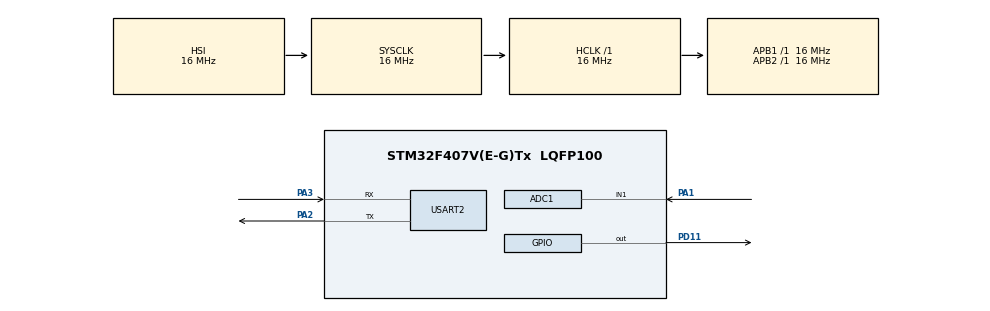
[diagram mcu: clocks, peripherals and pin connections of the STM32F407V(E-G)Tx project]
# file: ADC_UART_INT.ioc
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ADC1.Channel-0\#ChannelRegularConversion=ADC_CHANNEL_1
ADC1.ClockPrescaler=ADC_CLOCK_SYNC_PCLK_DIV2
ADC1.ContinuousConvMode=ENABLE
ADC1.DMAContinuousRequests=DISABLE
ADC1.DataAlign=ADC_DATAALIGN_RIGHT
ADC1.DiscontinuousConvMode=DISABLE
ADC1.EOCSelection=ADC_EOC_SEQ_CONV
ADC1.EnableAnalogWatchDog=false
ADC1.ExternalTrigConv=ADC_SOFTWARE_START
ADC1.ExternalTrigConvEdge=ADC_EXTERNALTRIGCONVEDGE_NONE
ADC1.InjNumberOfConversion=0
ADC1.NbrOfConversion=1
ADC1.NbrOfConversionFlag=1
ADC1.Rank-0\#ChannelRegularConversion=1
ADC1.Resolution=ADC_RESOLUTION_12B
ADC1.SamplingTime-0\#ChannelRegularConversion=ADC_SAMPLETIME_3CYCLES
ADC1.ScanConvMode=ENABLE
ADC1.master=1
Mcu.Family=STM32F4
Mcu.Name=STM32F407V(E-G)Tx
Mcu.Package=LQFP100
NVIC.ADC_IRQn=true\:0\:0\:false\:false\:true\:true
NVIC.PriorityGroup=NVIC_PRIORITYGROUP_4
NVIC.USART2_IRQn=true\:0\:0\:false\:false\:true\:true
PA1.Signal=ADCx_IN1
PA2.Mode=Asynchronous
PA2.Signal=USART2_TX
PA3.Mode=Asynchronous
PA3.Signal=USART2_RX
PA4.Signal=ADCx_IN4
PD11.Signal=GPIO_Output
ProjectManager.HeapSize=0x200
ProjectManager.StackSize=0x400
ProjectManager.TargetToolchain=TrueSTUDIO
RCC.AHBFreq_Value=16000000
RCC.APB1Freq_Value=16000000
RCC.APB2Freq_Value=16000000
RCC.CortexFreq_Value=16000000
RCC.HSE_VALUE=25000000
RCC.HSI_VALUE=16000000
RCC.LSE_VALUE=32768
RCC.SYSCLKFreq_VALUE=16000000
RCC.VCOOutputFreq_Value=192000000
SH.ADCx_IN1.0=ADC1_IN1,IN1
SH.ADCx_IN4.0=ADC1_IN4
USART2.VirtualMode=VM_ASYNC
VP_ADC1_Vref_Input.Mode=IN-Vrefint
board=ADC_UART_INT

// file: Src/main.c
/**
  ******************************************************************************
  * File Name          : main.c
  * Description        : Main program body
  ******************************************************************************
  ** This notice applies to any and all portions of this file
  * that are not between comment pairs USER CODE BEGIN and
  * USER CODE END. Other portions of this file, whether
  * inserted by the user or by software development tools
  * are owned by their respective copyright owners.
  *
  * COPYRIGHT(c) 2018 STMicroelectronics
  *
  * Redistribution and use in source and binary forms, with or without modification,
  * are permitted provided that the following conditions are met:
  *   1. Redistributions of source code must retain the above copyright notice,
  *      this list of conditions and the following disclaimer.
  *   2. Redistributions in binary form must reproduce the above copyright notice,
  *      this list of conditions and the following disclaimer in the documentation
  *      and/or other materials provided with the distribution.
  *   3. Neither the name of STMicroelectronics nor the names of its contributors
  *      may be used to endorse or promote products derived from this software
  *      without specific prior written permission.
  *
  * THIS SOFTWARE IS PROVIDED BY THE COPYRIGHT HOLDERS AND CONTRIBUTORS "AS IS"
  * AND ANY EXPRESS OR IMPLIED WARRANTIES, INCLUDING, BUT NOT LIMITED TO, THE
  * IMPLIED WARRANTIES OF MERCHANTABILITY AND FITNESS FOR A PARTICULAR PURPOSE ARE
  * DISCLAIMED. IN NO EVENT SHALL THE COPYRIGHT HOLDER OR CONTRIBUTORS BE LIABLE
  * FOR ANY DIRECT, INDIRECT, INCIDENTAL, SPECIAL, EXEMPLARY, OR CONSEQUENTIAL
  * DAMAGES (INCLUDING, BUT NOT LIMITED TO, PROCUREMENT OF SUBSTITUTE GOODS OR
  * SERVICES; LOSS OF USE, DATA, OR PROFITS; OR BUSINESS INTERRUPTION) HOWEVER
  * CAUSED AND ON ANY THEORY OF LIABILITY, WHETHER IN CONTRACT, STRICT LIABILITY,
  * OR TORT (INCLUDING NEGLIGENCE OR OTHERWISE) ARISING IN ANY WAY OUT OF THE USE
  * OF THIS SOFTWARE, EVEN IF ADVISED OF THE POSSIBILITY OF SUCH DAMAGE.
  *
  ******************************************************************************
  */

#include "main.h"
#include "stm32f4xx_hal.h"

ADC_HandleTypeDef hadc1;

UART_HandleTypeDef huart2;

/* USER CODE BEGIN PV */
/* Private variables ---------------------------------------------------------*/
uint32_t a_ADC_u16=0;

uint8_t* varToStrConv(uint32_t v_var_u32)
{
    static uint8_t p_string_u8[6];
    int8_t cnt;
    for(cnt = 3; cnt>=0;cnt--)
    {
    p_string_u8[cnt] = ((v_var_u32 % 10)+48);
    v_var_u32 /= 10;
    }
    p_string_u8[4]='\n';
    return p_string_u8;
}
/* USER CODE END PV */

void SystemClock_Config(void);
static void MX_GPIO_Init(void);
static void MX_ADC1_Init(void);
static void MX_USART2_UART_Init(void);

/* USER CODE BEGIN PFP */
/* Private function prototypes -----------------------------------------------*/

/* USER CODE END PFP */

int main(void)
{

  /* MCU Configuration----------------------------------------------------------*/

  /* Reset of all peripherals, Initializes the Flash interface and the Systick. */
  HAL_Init();

  /* Configure the system clock */
  SystemClock_Config();

  /* Initialize all configured peripherals */
  MX_GPIO_Init();
  MX_ADC1_Init();
  MX_USART2_UART_Init();

  /* USER CODE BEGIN 2 */

  HAL_ADC_Start(&hadc1);

  /* USER CODE END 2 */

  /* Infinite loop */
  while (1)
  {

  /* USER CODE BEGIN 3 */

	  HAL_ADC_PollForConversion(&hadc1,1000);

	  a_ADC_u16=HAL_ADC_GetValue(&hadc1);

	  a_ADC_u16 *= 732;

	  a_ADC_u16 /= 10000;

	  HAL_UART_Transmit(&huart2, varToStrConv(a_ADC_u16), 5 ,1000);

	  if(a_ADC_u16>30)
	  {
		  HAL_GPIO_WritePin(GPIOD, GPIO_PIN_11,GPIO_PIN_SET);
	  }
	  else
	  {
		  HAL_GPIO_WritePin(GPIOD, GPIO_PIN_11,GPIO_PIN_RESET);
	  }
	  HAL_Delay(100);
  }
  /* USER CODE END 3 */

}

/** System Clock Configuration
*/
void SystemClock_Config(void)
{

  RCC_OscInitTypeDef RCC_OscInitStruct;
  RCC_ClkInitTypeDef RCC_ClkInitStruct;

    /**Configure the main internal regulator output voltage
    */
  __HAL_RCC_PWR_CLK_ENABLE();

  __HAL_PWR_VOLTAGESCALING_CONFIG(PWR_REGULATOR_VOLTAGE_SCALE1);

    /**Initializes the CPU, AHB and APB busses clocks
    */
  RCC_OscInitStruct.OscillatorType = RCC_OSCILLATORTYPE_HSI;
  RCC_OscInitStruct.HSIState = RCC_HSI_ON;
  RCC_OscInitStruct.HSICalibrationValue = 16;
  RCC_OscInitStruct.PLL.PLLState = RCC_PLL_NONE;
  if (HAL_RCC_OscConfig(&RCC_OscInitStruct) != HAL_OK)
  {
    _Error_Handler(__FILE__, __LINE__);
  }

    /**Initializes the CPU, AHB and APB busses clocks
    */
  RCC_ClkInitStruct.ClockType = RCC_CLOCKTYPE_HCLK|RCC_CLOCKTYPE_SYSCLK
                              |RCC_CLOCKTYPE_PCLK1|RCC_CLOCKTYPE_PCLK2;
  RCC_ClkInitStruct.SYSCLKSource = RCC_SYSCLKSOURCE_HSI;
  RCC_ClkInitStruct.AHBCLKDivider = RCC_SYSCLK_DIV1;
  RCC_ClkInitStruct.APB1CLKDivider = RCC_HCLK_DIV1;
  RCC_ClkInitStruct.APB2CLKDivider = RCC_HCLK_DIV1;

  if (HAL_RCC_ClockConfig(&RCC_ClkInitStruct, FLASH_LATENCY_0) != HAL_OK)
  {
    _Error_Handler(__FILE__, __LINE__);
  }

    /**Configure the Systick interrupt time
    */
  HAL_SYSTICK_Config(HAL_RCC_GetHCLKFreq()/1000);

    /**Configure the Systick
    */
  HAL_SYSTICK_CLKSourceConfig(SYSTICK_CLKSOURCE_HCLK);

  /* SysTick_IRQn interrupt configuration */
  HAL_NVIC_SetPriority(SysTick_IRQn, 0, 0);
}

/* ADC1 init function */
static void MX_ADC1_Init(void)
{

  ADC_ChannelConfTypeDef sConfig;

    /**Configure the global features of the ADC (Clock, Resolution, Data Alignment and number of conversion)
    */
  hadc1.Instance = ADC1;
  hadc1.Init.ClockPrescaler = ADC_CLOCK_SYNC_PCLK_DIV2;
  hadc1.Init.Resolution = ADC_RESOLUTION_12B;
  hadc1.Init.ScanConvMode = ENABLE;
  hadc1.Init.ContinuousConvMode = ENABLE;
  hadc1.Init.DiscontinuousConvMode = DISABLE;
  hadc1.Init.ExternalTrigConvEdge = ADC_EXTERNALTRIGCONVEDGE_NONE;
  hadc1.Init.ExternalTrigConv = ADC_SOFTWARE_START;
  hadc1.Init.DataAlign = ADC_DATAALIGN_RIGHT;
  hadc1.Init.NbrOfConversion = 1;
  hadc1.Init.DMAContinuousRequests = DISABLE;
  hadc1.Init.EOCSelection = ADC_EOC_SEQ_CONV;
  if (HAL_ADC_Init(&hadc1) != HAL_OK)
  {
    _Error_Handler(__FILE__, __LINE__);
  }

    /**Configure for the selected ADC regular channel its corresponding rank in the sequencer and its sample time.
    */
  sConfig.Channel = ADC_CHANNEL_1;
  sConfig.Rank = 1;
  sConfig.SamplingTime = ADC_SAMPLETIME_3CYCLES;
  if (HAL_ADC_ConfigChannel(&hadc1, &sConfig) != HAL_OK)
  {
    _Error_Handler(__FILE__, __LINE__);
  }

}

/* USART2 init function */
static void MX_USART2_UART_Init(void)
{

  huart2.Instance = USART2;
  huart2.Init.BaudRate = 115200;
  huart2.Init.WordLength = UART_WORDLENGTH_8B;
  huart2.Init.StopBits = UART_STOPBITS_1;
  huart2.Init.Parity = UART_PARITY_NONE;
  huart2.Init.Mode = UART_MODE_TX_RX;
  huart2.Init.HwFlowCtl = UART_HWCONTROL_NONE;
  huart2.Init.OverSampling = UART_OVERSAMPLING_16;
  if (HAL_UART_Init(&huart2) != HAL_OK)
  {
    _Error_Handler(__FILE__, __LINE__);
  }

}

/** Configure pins as
        * Analog
        * Input
        * Output
        * EVENT_OUT
        * EXTI
*/
static void MX_GPIO_Init(void)
{

  GPIO_InitTypeDef GPIO_InitStruct;

  /* GPIO Ports Clock Enable */
  __HAL_RCC_GPIOA_CLK_ENABLE();
  __HAL_RCC_GPIOD_CLK_ENABLE();

  /*Configure GPIO pin Output Level */
  HAL_GPIO_WritePin(GPIOD, GPIO_PIN_11, GPIO_PIN_RESET);

  /*Configure GPIO pin : PD11 */
  GPIO_InitStruct.Pin = GPIO_PIN_11;
  GPIO_InitStruct.Mode = GPIO_MODE_OUTPUT_PP;
  GPIO_InitStruct.Pull = GPIO_NOPULL;
  GPIO_InitStruct.Speed = GPIO_SPEED_FREQ_LOW;
  HAL_GPIO_Init(GPIOD, &GPIO_InitStruct);

}

void _Error_Handler(char * file, int line)
{
  while(1)
  {
  }
}

/************************ (C) COPYRIGHT STMicroelectronics *****END OF FILE****/
